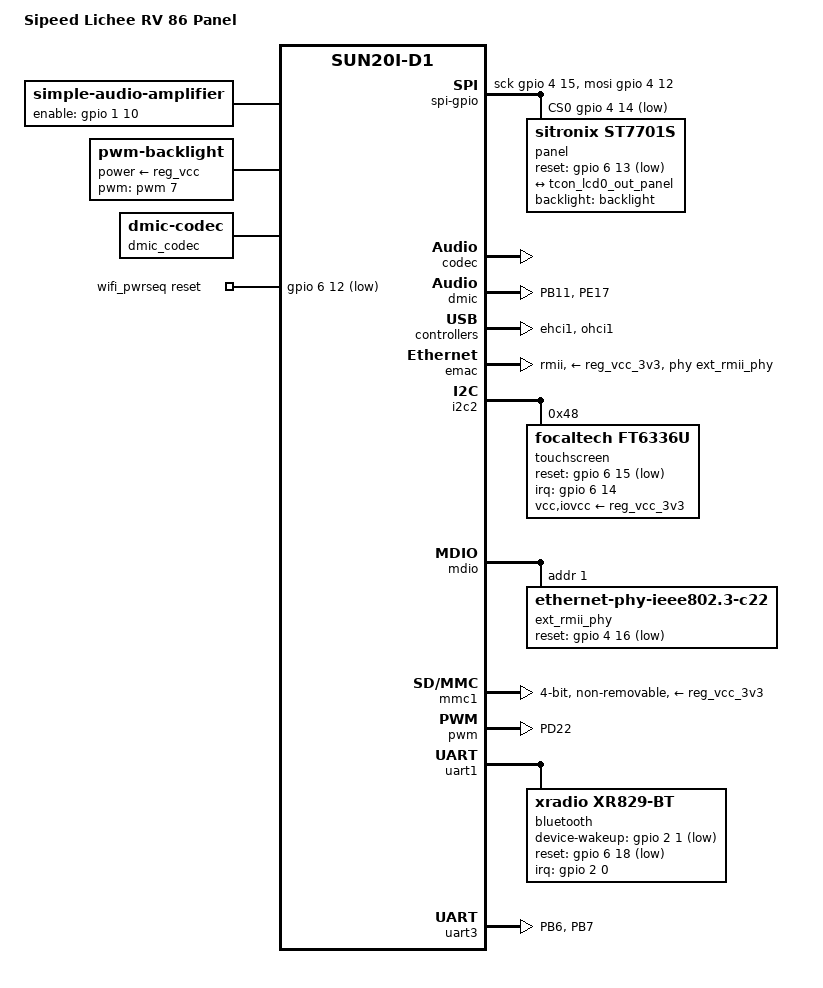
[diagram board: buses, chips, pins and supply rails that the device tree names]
// SPDX-License-Identifier: (GPL-2.0+ or MIT)
// Copyright (C) 2022 Samuel Holland <samuel@sholland.org>

#include <dt-bindings/input/input.h>

#include "sun20i-d1-lichee-rv.dts"

/ {
	model = "Sipeed Lichee RV 86 Panel";
	compatible = "sipeed,lichee-rv-86-panel", "sipeed,lichee-rv",
		     "allwinner,sun20i-d1";

	aliases {
		ethernet0 = &emac;
		mmc1 = &mmc1;
		serial3 = &uart3;
	};

	amplifier: audio-amplifier {
		compatible = "simple-audio-amplifier";
		enable-gpios = <&gpio 1 10 GPIO_ACTIVE_HIGH>; /* PB10 */
		sound-name-prefix = "Amplifier";
	};

	backlight: backlight {
		compatible = "pwm-backlight";
		power-supply = <&reg_vcc>;
		pwms = <&pwm 7 50000 0>;
	};

	dmic-card {
		compatible = "simple-audio-card";
		#address-cells = <1>;
		#size-cells = <0>;

		simple-audio-card,dai-link@0 {
			format = "pdm";
			frame-master = <&link0_cpu>;
			bitclock-master = <&link0_cpu>;

			link0_cpu: cpu {
				sound-dai = <&dmic>;
			};

			link0_codec: codec {
				sound-dai = <&dmic_codec>;
			};
		};
	};

	dmic_codec: dmic-codec {
		compatible = "dmic-codec";
		num-channels = <1>;
		#sound-dai-cells = <0>;
	};

	spi-gpio {
		compatible = "spi-gpio";
		cs-gpios = <&gpio 4 14 GPIO_ACTIVE_LOW>; /* PE14 */
		mosi-gpios = <&gpio 4 12 GPIO_ACTIVE_HIGH>; /* PE12 */
		sck-gpios = <&gpio 4 15 GPIO_ACTIVE_HIGH>; /* PE15 */
		num-chipselects = <1>;
		#address-cells = <1>;
		#size-cells = <0>;

		panel@0 {
			compatible = "sitronix,st7701s";
			reg = <0>;
			backlight = <&backlight>;
			reset-gpios = <&gpio 6 13 GPIO_ACTIVE_LOW>; /* PG13 */

			port {
				panel_in_tcon_lcd0: endpoint {
					remote-endpoint = <&tcon_lcd0_out_panel>;
				};
			};
		};
	};

	wifi_pwrseq: wifi-pwrseq {
		compatible = "mmc-pwrseq-simple";
		clocks = <&ccu CLK_FANOUT1>;
		clock-names = "ext_clock";
		reset-gpios = <&gpio 6 12 GPIO_ACTIVE_LOW>; /* PG12 */
		assigned-clocks = <&ccu CLK_FANOUT1>;
		assigned-clock-rates = <32768>;
		pinctrl-0 = <&clk_pg11_pin>;
		pinctrl-names = "default";
	};
};

&codec {
	allwinner,aux-devs = <&amplifier>;
	allwinner,routing = "Internal Speaker", "Amplifier OUTL",
			    "Internal Speaker", "Amplifier OUTR",
			    "Amplifier INL", "HPOUTL",
			    "Amplifier INR", "HPOUTR",
			    "LINEINL", "HPOUTL",
			    "LINEINR", "HPOUTR",
			    "MICIN3", "Internal Microphone",
			    "Internal Microphone", "HBIAS";
	allwinner,widgets = "Microphone", "Internal Microphone",
			    "Speaker", "Internal Speaker";
	status = "okay";
};

&dmic {
	pinctrl-0 = <&dmic_pb11_d0_pin>, <&dmic_pe17_clk_pin>;
	pinctrl-names = "default";
	status = "okay";
};

&ehci1 {
	status = "okay";
};

&emac {
	pinctrl-0 = <&rmii_pe_pins>;
	pinctrl-names = "default";
	phy-handle = <&ext_rmii_phy>;
	phy-mode = "rmii";
	phy-supply = <&reg_vcc_3v3>;
	status = "okay";
};

&gpio {
	clk_pg11_pin: clk-pg11-pin {
		pins = "PG11";
		function = "clk";
	};

	dmic_pb11_d0_pin: dmic-pb11-d0-pin {
		pins = "PB11";
		function = "dmic";
	};

	dmic_pe17_clk_pin: dmic-pe17-clk-pin {
		pins = "PE17";
		function = "dmic";
	};

	pwm7_pd22_pin: pwm7-pd22-pin {
		pins = "PD22";
		function = "pwm";
	};

	uart3_pb_pins: uart3-pb-pins {
		pins = "PB6", "PB7";
		function = "uart3";
	};
};

&i2c2 {
	pinctrl-0 = <&i2c2_pb0_pins>;
	pinctrl-names = "default";
	status = "okay";

	touchscreen@48 {
		compatible = "focaltech,ft6336u", "focaltech,ft6236";
		reg = <0x48>;
		interrupt-parent = <&gpio>;
		interrupts = <6 14 IRQ_TYPE_LEVEL_LOW>; /* PG14 */
		reset-gpios = <&gpio 6 15 GPIO_ACTIVE_LOW>; /* PG15 */
		wakeup-source;
		vcc-supply = <&reg_vcc_3v3>;
		iovcc-supply = <&reg_vcc_3v3>;
		touchscreen-size-x = <480>;
		touchscreen-size-y = <480>;
	};
};

&mdio {
	ext_rmii_phy: ethernet-phy@1 {
		compatible = "ethernet-phy-ieee802.3-c22";
		reg = <1>;
		reset-gpios = <&gpio 4 16 GPIO_ACTIVE_LOW>; /* PE16 */
	};
};

&mmc1 {
	bus-width = <4>;
	mmc-pwrseq = <&wifi_pwrseq>;
	non-removable;
	vmmc-supply = <&reg_vcc_3v3>;
	vqmmc-supply = <&reg_vcc_3v3>;
	pinctrl-0 = <&mmc1_pins>;
	pinctrl-names = "default";
	status = "okay";
};

&ohci1 {
	status = "okay";
};

&pwm {
	pinctrl-0 = <&pwm7_pd22_pin>;
	pinctrl-names = "default";
	status = "okay";
};

&tcon_lcd0_out {
	tcon_lcd0_out_panel: endpoint {
		remote-endpoint = <&panel_in_tcon_lcd0>;
	};
};

&uart1 {
	pinctrl-0 = <&uart1_pg6_pins>, <&uart1_pg8_rts_cts_pins>;
	pinctrl-names = "default";
	status = "okay";

	bluetooth {
		compatible = "xradio,xr829-bt";
		interrupt-parent = <&gpio>;
		interrupts = <2 0 IRQ_TYPE_LEVEL_LOW>; /* PC0 */
		device-wakeup-gpios = <&gpio 2 1 GPIO_ACTIVE_LOW>; /* PC1 */
		reset-gpios = <&gpio 6 18 GPIO_ACTIVE_LOW>; /* PG18 */
	};
};

&uart3 {
	pinctrl-0 = <&uart3_pb_pins>;
	pinctrl-names = "default";
	status = "okay";
};

&usbphy {
	usb1_vbus-supply = <&reg_vcc>;
};
